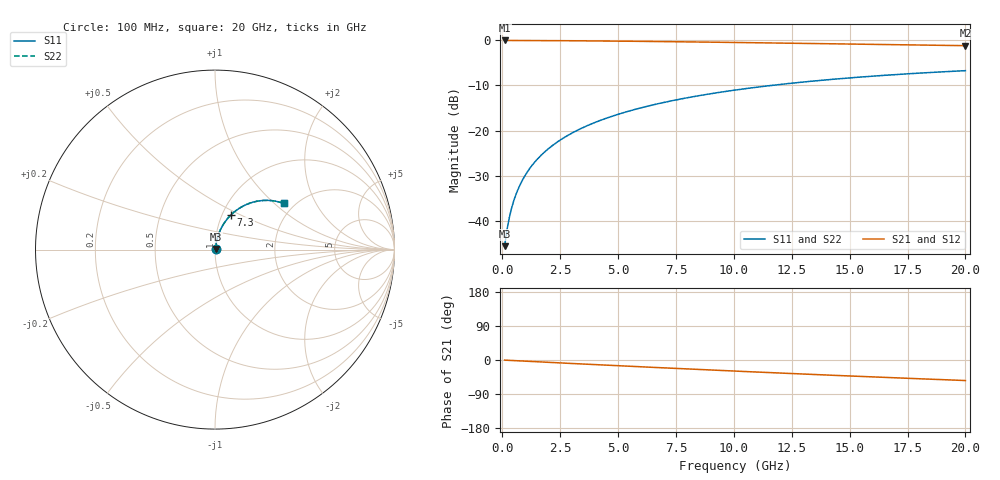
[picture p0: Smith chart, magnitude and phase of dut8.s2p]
! Touchstone file exported from HFSS 2026.1.0
!  File:  C:/ffzhzh/LocalFiles/Ansys_Project_Files/temp_val_TMRDL_8_1782902753_43084.aedt
!  Generated:  06:47:35 PM Jul  1, 2026
!  Design:  TMRDL
!  Project:  temp_val_TMRDL_8_1782902753_43084
! Variables:
!  h_bsmrdl = 2um
!  h_ox = 20um
!  h_rdl = 5um
!  h_sub = 80um
!  h_tmrdl = 5.63um
!  h_tsv = 80um
!  h_via = 3um
!  l_bsmrdl = 300um
!  l_sub = 1261.85um
!  l_tmrdl = 861.85um
!  m_sub = 200um
!  pitch = 36.88um
!  r_tsv = 6um
!  s_tmrdl = 10um
!  w_bsmrdl = 18um
!  w_sub = 500um
!  w_tmrdl = 13.77um
!  x_tsv_center1 = 868.735um
!  x_tsv_center2 = 1186.735um
!  x_tsv_center3 = 2062.355um
!  x_tsv_center4 = 2380.355um
!  x_tsv_center5 = 3255.975um
!  x_tsv_center6 = 3573.975um
# GHz S MA R 50.000000
! Terminal data exported
! Port[1] = TM_RDL1_1_T1
! Port[2] = TM_RDL1_1_T2
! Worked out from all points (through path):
!   200 points, 100 MHz to 20 GHz, reference 50 ohm
!   highest |S21| = -0.03 dB at 100 MHz (marker M1); lowest = -1.2 dB at 20 GHz (marker M2)
!   group delay of S21, straight-line fit = 7.52 ps
!   lowest |S11| = -45.6 dB at 100 MHz (marker M3), VSWR 1.01, Z = 50.4 + j0.338 ohm
!   |S11| at or under -10 dB: start of sweep to 11.63 GHz
!   |S22| runs from -45.6 to -6.7 dB; largest |S21 - S12| = 1e-14
!   S11 on the Smith chart (normalised r, x): 100 MHz: 1.01, +0.01; 7.3 GHz: 1.10, +0.45; 20 GHz: 1.76, +1.15
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0.1  0.005225 39.9  0.996 -0.3  0.996 -0.3  0.005225 39.9
! Gamma 0 0 0 0
! Port Impedance 50 0 50 0
0.2  0.007839 57.5  0.9958 -0.6  0.9958 -0.6  0.007839 57.5
0.3  0.01076 65.6  0.9957 -0.9  0.9957 -0.9  0.01076 65.6
0.4  0.01376 70.1  0.9955 -1.3  0.9955 -1.3  0.01376 70.1
0.5  0.01679 72.9  0.9954 -1.6  0.9954 -1.6  0.01679 72.9
0.6  0.01985 74.7  0.9952 -1.9  0.9952 -1.9  0.01985 74.7
0.8  0.02601 77.0  0.9949 -2.5  0.9949 -2.5  0.02601 77.0
1.1  0.03531 78.5  0.9944 -3.4  0.9944 -3.4  0.03531 78.5
1.5  0.04771 79.0  0.9936 -4.6  0.9936 -4.6  0.04771 79.0
1.8  0.05698 78.8  0.9928 -5.5  0.9928 -5.5  0.05698 78.8
2.1  0.06619 78.4  0.9919 -6.5  0.9919 -6.5  0.06619 78.4
2.7  0.0844 77.2  0.9898 -8.3  0.9898 -8.3  0.0844 77.2
3.5  0.1082 75.3  0.9865 -10.7  0.9865 -10.7  0.1082 75.3
4.2  0.1285 73.5  0.9833 -12.7  0.9833 -12.7  0.1285 73.5
5  0.1512 71.3  0.9791 -15.1  0.9791 -15.1  0.1512 71.4
6.8  0.2001 66.5  0.9686 -20.3  0.9686 -20.3  0.2001 66.6
7.3  0.2131 65.2  0.9655 -21.7  0.9655 -21.7  0.2131 65.2
8.6  0.246 61.8  0.9568 -25.3  0.9568 -25.3  0.246 61.8
10.1  0.2819 57.9  0.9461 -29.4  0.9461 -29.4  0.2818 57.9
13.4  0.3528 49.5  0.9211 -38.1  0.9211 -38.1  0.3527 49.6
16.7  0.4123 41.5  0.8958 -46.4  0.8958 -46.4  0.4123 41.6
20  0.4607 33.9  0.872 -54.2  0.872 -54.2  0.4606 34.0
